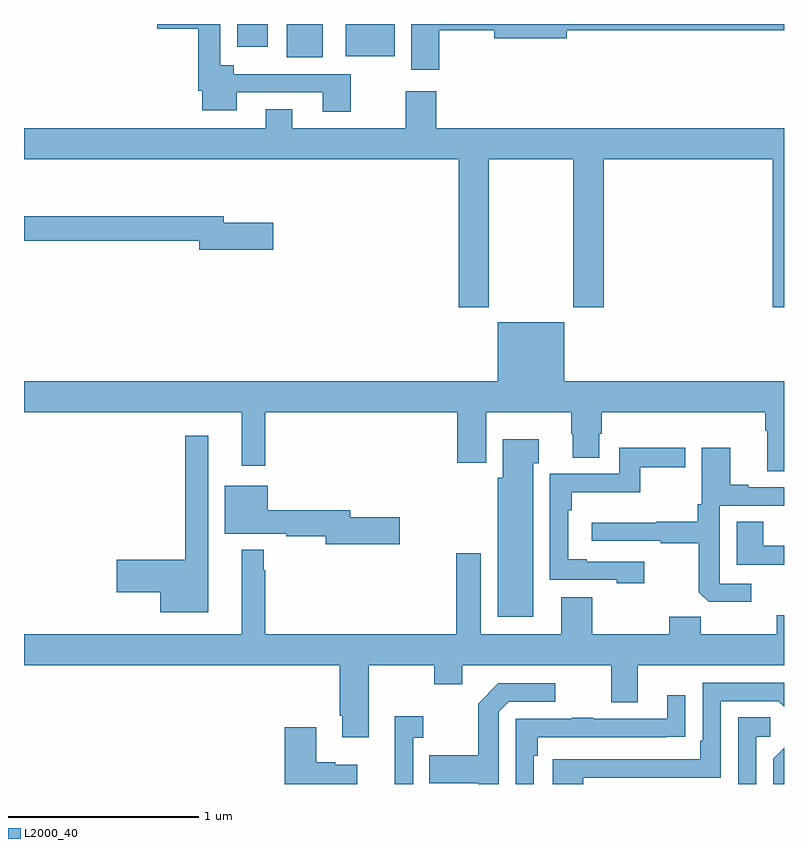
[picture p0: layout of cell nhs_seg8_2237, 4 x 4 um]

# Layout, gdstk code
import gdstk
lib = gdstk.Library(unit=1e-6, precision=1e-09)
def R(c, l, rs):  # rectangles x0, y0, x1, y1
    for r in rs: c.add(gdstk.rectangle(r[:2], r[2:], *l))
def P(c, l, *ps):  # polygons
    for p in ps: c.add(gdstk.Polygon(p, *l))
L2000_40 = (2000, 40)

nhs_seg8_2237 = lib.new_cell('nhs_seg8_2237')
R(nhs_seg8_2237, L2000_40, [(254.384,1095.725,254.572,1095.9), (254.693,1095.731,254.95,1095.9), (254.123,1095.78,254.284,1095.9)])
P(nhs_seg8_2237, L2000_40, [(255.185,1095.868),(255.476,1095.868),(255.476,1095.826),(255.856,1095.826),(255.856,1095.868),(257,1095.868),(257,1095.9),(255.038,1095.9),(255.038,1095.66),(255.185,1095.66)],
  [(254.721,1095.636),(254.104,1095.636),(254.104,1095.682),(254.034,1095.682),(254.034,1095.9),(253.7,1095.9),(253.7,1095.875),(253.918,1095.875),(253.918,1095.55),(253.937,1095.55),(253.937,1095.446),(254.119,1095.446),(254.119,1095.54),(254.573,1095.54),(254.573,1095.438),(254.721,1095.438)],
  [(254.273,1095.451),(254.273,1095.352),(253,1095.352),(253,1095.188),(255.287,1095.188),(255.287,1094.409),(255.447,1094.409),(255.447,1095.188),(255.892,1095.188),(255.892,1094.409),(256.052,1094.409),(256.052,1095.188),(256.94,1095.188),(256.94,1094.409),(257,1094.409),(257,1095.352),(255.17,1095.352),(255.17,1095.547),(255.01,1095.547),(255.01,1095.352),(254.413,1095.352),(254.413,1095.451)],
  [(254.311,1094.853),(254.05,1094.853),(254.05,1094.887),(253,1094.887),(253,1094.758),(253.922,1094.758),(253.922,1094.711),(254.311,1094.711)],
  [(257,1094.02),(255.844,1094.02),(255.844,1094.329),(255.494,1094.329),(255.494,1094.02),(253,1094.02),(253,1093.856),(254.147,1093.856),(254.147,1093.575),(254.269,1093.575),(254.269,1093.856),(255.281,1093.856),(255.281,1093.59),(255.433,1093.59),(255.433,1093.856),(255.88,1093.856),(255.88,1093.743),(255.887,1093.743),(255.887,1093.618),(256.027,1093.618),(256.027,1093.743),(256.04,1093.743),(256.04,1093.856),(256.901,1093.856),(256.901,1093.76),(256.913,1093.76),(256.913,1093.546),(257,1093.546)],
  [(253.969,1093.732),(253.848,1093.732),(253.848,1093.079),(253.488,1093.079),(253.488,1092.908),(253.718,1092.908),(253.718,1092.803),(253.969,1092.803)],
  [(255.679,1093.589),(255.709,1093.589),(255.709,1093.714),(255.521,1093.714),(255.521,1093.512),(255.494,1093.512),(255.494,1092.779),(255.679,1092.779)],
  [(256.264,1093.071),(255.961,1093.071),(255.961,1093.084),(255.864,1093.084),(255.864,1093.34),(255.884,1093.34),(255.884,1093.436),(256.243,1093.436),(256.243,1093.567),(256.48,1093.567),(256.48,1093.67),(256.134,1093.67),(256.134,1093.533),(255.768,1093.533),(255.768,1092.975),(256.119,1092.975),(256.119,1092.956),(256.264,1092.956)],
  [(256.828,1092.954),(256.662,1092.954),(256.662,1093.365),(257,1093.365),(257,1093.461),(256.813,1093.461),(256.813,1093.474),(256.717,1093.474),(256.717,1093.669),(256.566,1093.669),(256.566,1093.372),(256.546,1093.372),(256.546,1093.28),(256.327,1093.28),(256.327,1093.276),(255.987,1093.276),(255.987,1093.179),(256.351,1093.179),(256.351,1093.167),(256.551,1093.167),(256.551,1092.909),(256.603,1092.858),(256.828,1092.858)],
  [(254.977,1093.304),(254.716,1093.304),(254.716,1093.34),(254.284,1093.34),(254.284,1093.471),(254.057,1093.471),(254.057,1093.217),(254.38,1093.217),(254.38,1093.204),(254.588,1093.204),(254.588,1093.162),(254.977,1093.162)],
  [(257,1093.155),(256.891,1093.155),(256.891,1093.28),(256.751,1093.28),(256.751,1093.054),(257,1093.054)],
  [(257,1092.787),(256.961,1092.787),(256.961,1092.688),(256.561,1092.688),(256.561,1092.781),(256.397,1092.781),(256.397,1092.688),(255.991,1092.688),(255.991,1092.883),(255.827,1092.883),(255.827,1092.688),(255.403,1092.688),(255.403,1093.114),(255.275,1093.114),(255.275,1092.688),(254.269,1092.688),(254.269,1093.025),(254.262,1093.025),(254.262,1093.132),(254.147,1093.132),(254.147,1092.688),(253,1092.688),(253,1092.524),(254.663,1092.524),(254.663,1092.259),(254.675,1092.259),(254.675,1092.147),(254.815,1092.147),(254.815,1092.524),(255.16,1092.524),(255.16,1092.425),(255.307,1092.425),(255.307,1092.524),(256.091,1092.524),(256.091,1092.33),(256.231,1092.33),(256.231,1092.524),(257,1092.524)],
  [(255.944,1091.934),(256.668,1091.934),(256.668,1092.336),(256.971,1092.336),(257,1092.307),(257,1092.432),(256.572,1092.432),(256.572,1092.127),(256.559,1092.127),(256.559,1092.03),(255.783,1092.03),(255.783,1091.9),(255.944,1091.9)],
  [(255.498,1092.279),(255.552,1092.333),(255.796,1092.333),(255.796,1092.429),(255.495,1092.429),(255.39,1092.323),(255.39,1092.051),(255.133,1092.051),(255.133,1091.903),(255.39,1091.903),(255.39,1091.9),(255.498,1091.9)],
  [(255.684,1092.05),(255.704,1092.05),(255.704,1092.147),(256.379,1092.147),(256.379,1092.148),(256.481,1092.148),(256.481,1092.367),(256.385,1092.367),(256.385,1092.243),(255.995,1092.243),(255.995,1092.248),(255.883,1092.248),(255.883,1092.243),(255.588,1092.243),(255.588,1091.9),(255.684,1091.9)],
  [(255.048,1092.143),(255.1,1092.143),(255.1,1092.256),(254.951,1092.256),(254.951,1091.9),(255.048,1091.9)],
  [(256.854,1092.15),(256.927,1092.15),(256.927,1092.251),(256.758,1092.251),(256.758,1091.9),(256.854,1091.9)],
  [(254.755,1092.001),(254.639,1092.001),(254.639,1092.014),(254.539,1092.014),(254.539,1092.199),(254.372,1092.199),(254.372,1091.9),(254.755,1091.9)],
  [(257,1092.09),(256.944,1092.034),(256.944,1091.9),(257,1091.9)])

lib.write_gds('nhs_seg8_2237.gds')
